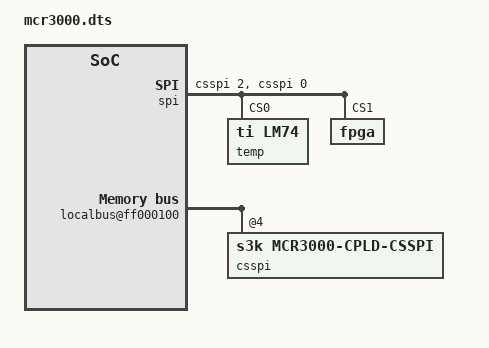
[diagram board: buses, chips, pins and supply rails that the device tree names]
/*
 * MCR3000 Device Tree Source
 *
 * Copyright 2017 CS Systemes d'Information
 *
 * SPDX-License-Identifier:	GPL-2.0+
 */

/dts-v1/;

/ {
	#address-cells = <1>;
	#size-cells = <1>;

	soc: immr@ff000000 {
		#address-cells = <1>;
		#size-cells = <1>;
		device-type = "soc";
		compatible = "simple-bus";
		ranges = <0 0xff000000 0x4000>;
		reg = <0xff000000 0x00000200>;

		WDT: watchdog@0 {
			compatible = "fsl,pq1-wdt";
			reg = <0x0 0x10>;
			timeout-sec = <2>;
			hw_margin_ms = <1000>;
		};

		spi: spi@aa0 {
			status = "okay";
			#address-cells = <1>;
			#size-cells = <0>;
			cell-index = <0>;
			compatible = "fsl,mpc8xx-spi";
			gpios = <&csspi 2 0
				 &csspi 0 0>;

			temp@0 {
				reg = <0>;
				compatible = "ti,lm74";
			};
			fpga@1 {
				reg = <1>;
			};
		};
	};

	localbus@ff000100 {
		compatible = "s3k,mcr3000-localbus", "fsl,pq1-localbus", "simple-bus";
		#address-cells = <2>;
		#size-cells = <1>;
		reg = <0xff000100 0x40>;		// ORx and BRx register

		ranges = <0 0 0x04000000 0x04000000 // BOOT
			  1 0 0x00000000 0x04000000 // SDRAM
			  2 0 0x08000000 0x04000000 // RAMDP
			  3 0 0x0C000000 0x04000000 // NAND
			  4 0 0x10000000 0x04000000 // Periphs
			  5 0 0x14000000 0x04000000 // FPGA
			  6 0 0x18000000 0x04000000 // mezzanine
			  7 0 0x1c000000 0x04000000>; // DSP

		csspi: gpio-controller@2 {
			#gpio-cells = <2>;
			compatible = "s3k,mcr3000-cpld-csspi";
			reg = <4 0x802 2>;
			gpio-controller;
		};
	};

	SERIAL: smc@0 {
		compatible = "fsl,pq1-smc";
	};

	FEC: fec@0 {
		compatible = "fsl,pq1-fec1";
	};

	chosen {
		stdout-path = &SERIAL;
	};
};
